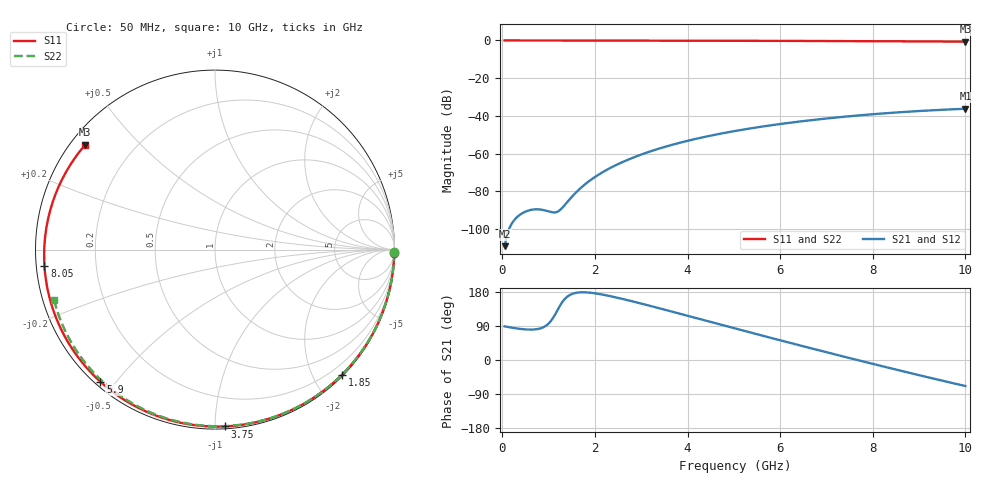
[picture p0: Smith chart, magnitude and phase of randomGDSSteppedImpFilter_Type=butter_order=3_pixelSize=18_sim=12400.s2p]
! freq	dB(S11)	phase(S11)	dB(S12)	phase(S12)
!  dB(S21)	phase(S21)	dB(S22)	phase(S22)
!S-par simulation data
#  GHz  S  DB  R 50
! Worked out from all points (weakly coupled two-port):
!   200 points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, 50 MHz to 10 GHz, reference 50 ohm
!   highest |S21| = -36.23 dB at 10 GHz (marker M1); lowest = -109.1 dB at 50 MHz (marker M2)
!   lowest |S11| = -0.6 dB at 10 GHz (marker M3), VSWR 27.38, Z = 2.05 + j17.7 ohm
!   |S11| at or under -10 dB: nowhere
!   |S22| runs from -0.5 to 0.0 dB; largest |S21 - S12| = 0
!   S11 on the Smith chart (normalised r, x): 50 MHz: 2, -97; 1.85 GHz: 0.02, -2.44; 3.75 GHz: 0.01, -1.06; 5.9 GHz: 0.02, -0.46; 8.05 GHz: 0.02, -0.05; 10 GHz: 0.04, +0.35
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0.05  -0.00 -1.2  -109.11 88.8  -109.11 88.8  -0.00 -0.9
0.45  -0.02 -11.0  -91.36 81.2  -91.36 81.2  -0.01 -8.5
0.8  -0.03 -19.5  -89.61 82.6  -89.61 82.6  -0.02 -15.0
1.6  -0.05 -38.7  -80.41 177.4  -80.41 177.4  -0.04 -29.8
1.75  -0.05 -42.2  -77.03 178.7  -77.03 178.7  -0.04 -32.5
1.85  -0.06 -44.5  -75.06 178.1  -75.06 178.1  -0.04 -34.3
2.15  -0.07 -51.5  -70.11 172.9  -70.11 172.9  -0.05 -39.8
2.5  -0.08 -59.5  -65.58 163.9  -65.58 163.9  -0.06 -46.0
2.9  -0.09 -68.4  -61.42 152.0  -61.42 152.0  -0.07 -53.0
3.4  -0.10 -79.4  -57.25 136.2  -57.25 136.2  -0.08 -61.6
3.75  -0.12 -86.9  -54.80 124.9  -54.80 124.9  -0.09 -67.5
4.4  -0.14 -100.6  -50.99 103.7  -50.99 103.7  -0.11 -78.3
5.05  -0.17 -113.9  -47.91 82.5  -47.91 82.5  -0.14 -88.7
5.9  -0.22 -130.9  -44.65 55.2  -44.65 55.2  -0.18 -101.9
6.7  -0.28 -146.8  -42.19 29.9  -42.19 29.9  -0.22 -113.9
7.4  -0.34 -160.9  -40.42 8.1  -40.42 8.1  -0.27 -124.3
8.05  -0.40 -174.4  -39.03 -11.7  -39.03 -11.7  -0.33 -133.8
8.35  -0.44 179.2  -38.47 -20.8  -38.47 -20.8  -0.35 -138.1
8.8  -0.49 169.4  -37.72 -34.2  -37.72 -34.2  -0.40 -144.7
9.2  -0.53 160.3  -37.15 -45.9  -37.15 -45.9  -0.44 -150.6
9.6  -0.58 150.9  -36.65 -57.4  -36.65 -57.4  -0.49 -156.5
10  -0.63 141.0  -36.23 -68.7  -36.23 -68.7  -0.54 -162.5
